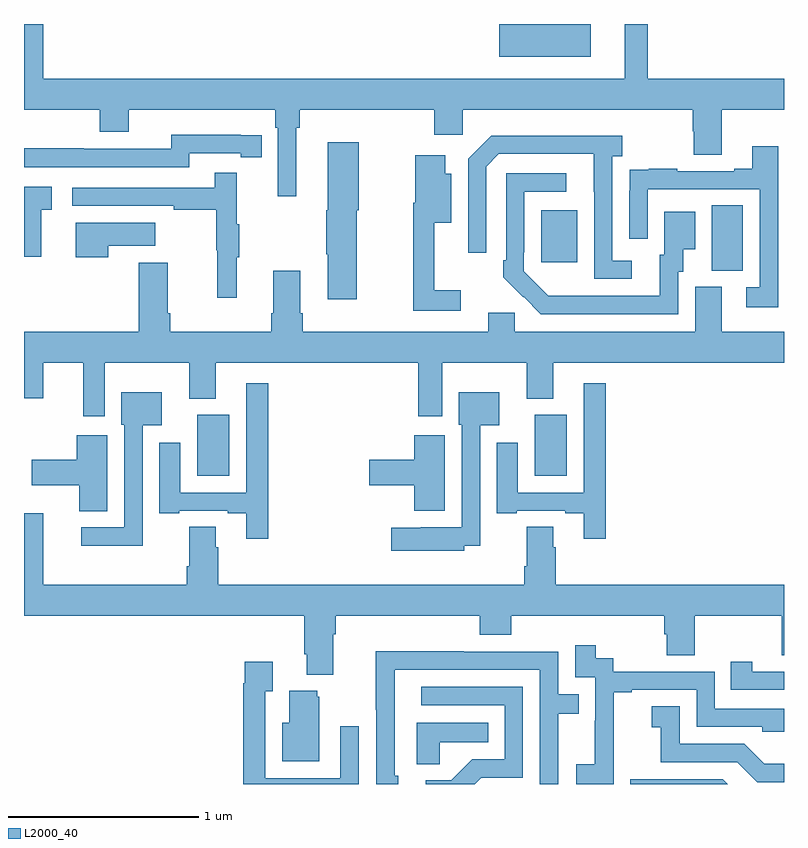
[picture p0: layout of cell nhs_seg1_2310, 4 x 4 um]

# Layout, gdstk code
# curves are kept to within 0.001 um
import gdstk
lib = gdstk.Library(unit=1e-6, precision=1e-09)
def R(c, l, rs):  # rectangles x0, y0, x1, y1
    for r in rs: c.add(gdstk.rectangle(r[:2], r[2:], *l))
def P(c, l, *ps):  # polygons
    for p in ps: c.add(gdstk.Polygon(p, *l))
L2000_40 = (2000, 40)

nhs_seg1_2310 = lib.new_cell('nhs_seg1_2310')
R(nhs_seg1_2310, L2000_40, [(237.911,533.822,238.081,534.142), (239.687,533.822,239.857,534.142), (240.62,534.901,240.784,535.244), (239.723,534.945,239.911,535.219)])
P(nhs_seg1_2310, L2000_40, [(239.983,536.199),(239.732,536.199),(239.732,536.198),(239.502,536.198),(239.502,536.027),(239.983,536.027)],
  [(238.432,535.652),(238.451,535.652),(238.451,535.748),(239.159,535.748),(239.159,535.617),(239.31,535.617),(239.31,535.748),(240.521,535.748),(240.521,535.635),(240.526,535.635),(240.526,535.51),(240.673,535.51),(240.673,535.748),(241,535.748),(241,535.912),(240.283,535.912),(240.283,536.199),(240.161,536.199),(240.161,535.912),(237.1,535.912),(237.1,536.199),(237,536.199),(237,535.748),(237.398,535.748),(237.398,535.631),(237.55,535.631),(237.55,535.748),(238.322,535.748),(238.322,535.652),(238.335,535.652),(238.335,535.293),(238.432,535.293)],
  [(237.87,535.518),(238.142,535.518),(238.142,535.498),(238.25,535.498),(238.25,535.614),(238.142,535.614),(238.142,535.615),(237.774,535.615),(237.774,535.542),(237.314,535.542),(237.314,535.544),(237,535.544),(237,535.446),(237.87,535.446)],
  [(240.199,534.954),(240.096,534.954),(240.096,535.502),(240.148,535.502),(240.148,535.612),(239.458,535.612),(239.337,535.491),(239.337,534.996),(239.433,534.996),(239.433,535.449),(239.499,535.515),(239.999,535.515),(240,534.858),(240.199,534.858)],
  [(238.752,535.218),(238.762,535.218),(238.762,535.576),(238.598,535.576),(238.598,535.218),(238.591,535.218),(238.591,534.988),(238.598,534.988),(238.598,534.75),(238.752,534.75)],
  [(240.969,535.555),(240.833,535.555),(240.833,535.438),(240.737,535.438),(240.737,535.425),(240.437,535.425),(240.437,535.438),(240.289,535.438),(240.289,535.431),(240.187,535.431),(240.187,535.322),(240.186,535.322),(240.186,535.068),(240.282,535.068),(240.282,535.329),(240.873,535.329),(240.873,534.813),(240.801,534.813),(240.801,534.708),(240.969,534.708)],
  [(239.299,534.799),(239.159,534.799),(239.159,535.154),(239.248,535.154),(239.248,535.411),(239.218,535.411),(239.218,535.507),(239.06,535.507),(239.06,535.258),(239.049,535.258),(239.049,534.69),(239.299,534.69)],
  [(238.121,534.971),(238.132,534.971),(238.132,535.145),(238.121,535.145),(238.121,535.417),(238.003,535.417),(238.003,535.338),(237.255,535.338),(237.255,535.242),(237.787,535.242),(237.787,535.222),(238.011,535.222),(238.011,535.008),(238.018,535.008),(238.018,534.759),(238.121,534.759)],
  [(240.444,534.894),(240.469,534.894),(240.469,535.013),(240.532,535.013),(240.532,535.21),(240.371,535.21),(240.371,534.984),(240.347,534.984),(240.347,534.768),(239.76,534.769),(239.631,534.897),(239.631,534.997),(239.634,534.997),(239.634,535.317),(239.854,535.317),(239.854,535.413),(239.538,535.413),(239.538,534.955),(239.523,534.955),(239.523,534.867),(239.72,534.672),(240.444,534.672)],
  [(237.092,535.221),(237.145,535.221),(237.145,535.342),(237,535.342),(237,534.975),(237.092,534.975)],
  [(237.443,535.031),(237.691,535.031),(237.691,535.153),(237.272,535.153),(237.272,534.972),(237.443,534.972)],
  [(239.583,534.678),(239.444,534.678),(239.444,534.58),(238.466,534.58),(238.466,534.676),(238.453,534.676),(238.453,534.901),(238.313,534.901),(238.313,534.676),(238.301,534.676),(238.301,534.58),(237.77,534.58),(237.77,534.676),(237.757,534.676),(237.757,534.943),(237.605,534.943),(237.605,534.58),(237,534.58),(237,534.228),(237.1,534.228),(237.1,534.416),(237.311,534.416),(237.311,534.135),(237.424,534.135),(237.424,534.416),(237.869,534.416),(237.869,534.227),(238.009,534.227),(238.009,534.416),(239.075,534.416),(239.075,534.135),(239.2,534.135),(239.2,534.416),(239.645,534.416),(239.645,534.227),(239.785,534.227),(239.785,534.416),(241,534.416),(241,534.58),(240.673,534.58),(240.673,534.816),(240.533,534.816),(240.533,534.58),(239.583,534.58)],
  [(238.286,534.307),(238.17,534.307),(238.17,533.733),(237.823,533.733),(237.823,533.995),(237.713,533.995),(237.713,533.625),(237.817,533.625),(237.817,533.637),(238.073,533.637),(238.073,533.625),(238.169,533.625),(238.169,533.49),(238.286,533.49)],
  [(240.062,534.307),(239.946,534.307),(239.946,533.733),(239.599,533.733),(239.599,533.995),(239.489,533.995),(239.489,533.625),(239.593,533.625),(239.593,533.637),(239.849,533.637),(239.849,533.625),(239.945,533.625),(239.945,533.49),(240.062,533.49)],
  [(237.624,534.086),(237.724,534.086),(237.724,534.262),(237.512,534.262),(237.512,534.09),(237.528,534.09),(237.528,533.55),(237.3,533.55),(237.3,533.453),(237.624,533.453)],
  [(239.316,533.453),(239.4,533.453),(239.4,534.086),(239.5,534.086),(239.5,534.262),(239.288,534.262),(239.288,534.09),(239.304,534.09),(239.304,533.55),(239.088,533.55),(239.088,533.548),(238.932,533.548),(238.932,533.426),(239.316,533.426)],
  [(239.215,534.034),(239.054,534.034),(239.054,533.906),(238.818,533.906),(238.818,533.771),(239.054,533.771),(239.054,533.636),(239.215,533.636)],
  [(237.439,534.034),(237.278,534.034),(237.278,533.906),(237.042,533.906),(237.042,533.771),(237.29,533.771),(237.29,533.635),(237.439,533.635)],
  [(238.627,532.988),(238.64,532.988),(238.64,533.084),(239.399,533.084),(239.399,532.985),(239.564,532.985),(239.564,533.084),(240.371,533.084),(240.371,532.986),(240.383,532.986),(240.383,532.876),(240.531,532.876),(240.531,533.084),(240.988,533.084),(240.988,532.876),(241,532.876),(241,533.248),(239.798,533.248),(239.798,533.444),(239.785,533.444),(239.785,533.552),(239.645,533.552),(239.645,533.344),(239.633,533.344),(239.633,533.248),(238.022,533.248),(238.022,533.444),(238.009,533.444),(238.009,533.552),(237.869,533.552),(237.869,533.344),(237.857,533.344),(237.857,533.248),(237.1,533.248),(237.1,533.623),(237,533.623),(237,533.084),(238.475,533.084),(238.475,532.882),(238.487,532.882),(238.487,532.775),(238.627,532.775)],
  [(240.105,532.399),(240.104,532.399),(240.104,532.683),(240.199,532.683),(240.199,532.695),(240.54,532.695),(240.54,532.5),(240.885,532.5),(240.885,532.473),(241,532.473),(241,532.596),(240.636,532.596),(240.636,532.791),(240.102,532.791),(240.102,532.86),(240.01,532.86),(240.01,532.93),(239.901,532.93),(239.901,532.761),(240.006,532.761),(240.006,532.532),(240.005,532.532),(240.005,532.303),(239.907,532.303),(239.907,532.199),(240.105,532.199)],
  [(238.969,532.242),(238.95,532.242),(238.95,532.8),(239.715,532.8),(239.715,532.199),(239.811,532.199),(239.811,532.57),(239.921,532.57),(239.921,532.671),(239.811,532.671),(239.811,532.896),(239.315,532.896),(239.315,532.898),(238.852,532.898),(238.852,532.591),(238.854,532.591),(238.854,532.199),(238.969,532.199)],
  [(238.761,532.504),(238.665,532.504),(238.665,532.23),(238.269,532.23),(238.269,532.687),(238.309,532.687),(238.309,532.843),(238.161,532.843),(238.161,532.73),(238.153,532.73),(238.153,532.199),(238.761,532.199)],
  [(241,532.791),(240.832,532.791),(240.832,532.843),(240.721,532.843),(240.721,532.695),(241,532.695)],
  [(239.406,532.233),(239.625,532.233),(239.625,532.71),(239.091,532.71),(239.091,532.614),(239.529,532.614),(239.529,532.329),(239.36,532.329),(239.249,532.218),(239.115,532.218),(239.115,532.199),(239.372,532.199)],
  [(238.555,532.659),(238.544,532.659),(238.544,532.69),(238.397,532.69),(238.397,532.522),(238.358,532.522),(238.358,532.319),(238.555,532.319)],
  [(241,532.306),(240.896,532.306),(240.792,532.41),(240.45,532.41),(240.45,532.609),(240.303,532.609),(240.303,532.499),(240.352,532.499),(240.352,532.314),(240.755,532.314),(240.86,532.209),(241,532.209)],
  [(239.187,532.418),(239.444,532.418),(239.444,532.522),(239.066,532.522),(239.066,532.303),(239.187,532.303)],
  [(240.678,532.224),(240.192,532.224),(240.192,532.199),(240.703,532.199)])

lib.write_gds('nhs_seg1_2310.gds')
